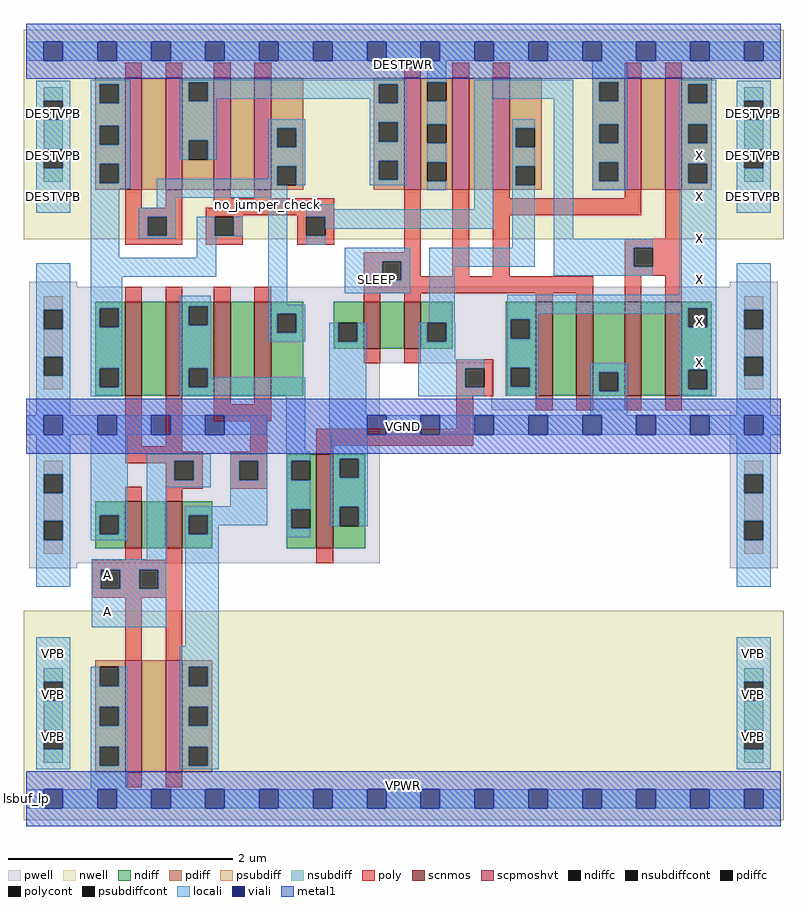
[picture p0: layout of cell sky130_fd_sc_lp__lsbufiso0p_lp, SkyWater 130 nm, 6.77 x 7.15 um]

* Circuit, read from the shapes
.subckt sky130_fd_sc_lp__lsbufiso0p_lp A DESTPWR DESTVPB SLEEP VGND VPB VPWR X
XM1 n1 A VGND VGND sky130_fd_pr__nfet_01v8 w=0.42 l=0.15
XM2 n2 A n3 VGND sky130_fd_pr__nfet_01v8 w=0.84 l=0.15
XM3 n4 A n1 VGND sky130_fd_pr__nfet_01v8 w=0.42 l=0.15
XM4 n5 A n2 VGND sky130_fd_pr__nfet_01v8 w=0.84 l=0.15
XM5 n6 n4 n5 VGND sky130_fd_pr__nfet_01v8 w=0.84 l=0.15
XM6 n7 n4 n6 VGND sky130_fd_pr__nfet_01v8 w=0.84 l=0.15
XM7 VGND n8 n5 VGND sky130_fd_pr__nfet_01v8 w=0.84 l=0.15
XM8 n9 SLEEP VGND VGND sky130_fd_pr__nfet_01v8 w=0.42 l=0.15
XM9 n8 SLEEP n9 VGND sky130_fd_pr__nfet_01v8 w=0.42 l=0.15
XM10 n10 SLEEP X VGND sky130_fd_pr__nfet_01v8 w=0.84 l=0.15
XM11 VGND SLEEP n10 VGND sky130_fd_pr__nfet_01v8 w=0.84 l=0.15
XM12 n11 n3 VGND VGND sky130_fd_pr__nfet_01v8 w=0.84 l=0.15
XM13 X n3 n11 VGND sky130_fd_pr__nfet_01v8 w=0.84 l=0.15
XM14 n12 A VPWR VPB sky130_fd_pr__pfet_01v8_hvt w=1 l=0.15
XM15 n13 n7 n3 DESTVPB sky130_fd_pr__pfet_01v8_hvt w=1 l=0.15
XM16 n4 A n12 VPB sky130_fd_pr__pfet_01v8_hvt w=1 l=0.15
XM17 n14 n7 n13 DESTVPB sky130_fd_pr__pfet_01v8_hvt w=1 l=0.15
XM18 n15 n3 n14 DESTVPB sky130_fd_pr__pfet_01v8_hvt w=1 l=0.15
XM19 n7 n3 n15 DESTVPB sky130_fd_pr__pfet_01v8_hvt w=1 l=0.15
XM20 DESTPWR SLEEP n14 DESTVPB sky130_fd_pr__pfet_01v8_hvt w=1 l=0.15
XM21 n16 SLEEP DESTPWR DESTVPB sky130_fd_pr__pfet_01v8_hvt w=1 l=0.15
XM22 n8 SLEEP n16 DESTVPB sky130_fd_pr__pfet_01v8_hvt w=1 l=0.15
XM23 n17 SLEEP DESTPWR DESTVPB sky130_fd_pr__pfet_01v8_hvt w=1 l=0.15
XM24 X n3 n17 DESTVPB sky130_fd_pr__pfet_01v8_hvt w=1 l=0.15
.ends

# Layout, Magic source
magic
tech sky130A
magscale 1 2
<< nwell >>
rect -5 997 1349 1370
rect -5 -38 1349 335
<< pwell >>
rect 5 912 91 921
rect 1253 912 1339 921
rect 5 776 1339 912
rect 5 420 630 776
rect 828 692 1339 776
rect 5 411 91 420
rect 1253 411 1339 692
<< scnmos >>
rect 176 718 206 886
rect 248 718 278 886
rect 334 718 364 886
rect 406 718 436 886
rect 601 802 631 886
rect 673 802 703 886
rect 908 718 938 886
rect 980 718 1010 886
rect 1066 718 1096 886
rect 1138 718 1168 886
rect 176 446 206 530
rect 248 446 278 530
rect 517 446 547 614
<< scpmoshvt >>
rect 176 1085 206 1285
rect 248 1085 278 1285
rect 334 1085 364 1285
rect 406 1085 436 1285
rect 673 1085 703 1285
rect 759 1085 789 1285
rect 831 1085 861 1285
rect 1066 1085 1096 1285
rect 1138 1085 1168 1285
rect 176 47 206 247
rect 248 47 278 247
<< ndiff >>
rect 123 874 176 886
rect 123 840 131 874
rect 165 840 176 874
rect 123 767 176 840
rect 123 733 131 767
rect 165 733 176 767
rect 123 718 176 733
rect 206 718 248 886
rect 278 878 334 886
rect 278 844 289 878
rect 323 844 334 878
rect 278 767 334 844
rect 278 733 289 767
rect 323 733 334 767
rect 278 718 334 733
rect 364 718 406 886
rect 436 864 493 886
rect 436 830 447 864
rect 481 830 493 864
rect 436 718 493 830
rect 548 848 601 886
rect 548 814 556 848
rect 590 814 601 848
rect 548 802 601 814
rect 631 802 673 886
rect 703 848 760 886
rect 703 814 714 848
rect 748 814 760 848
rect 703 802 760 814
rect 854 854 908 886
rect 854 820 863 854
rect 897 820 908 854
rect 854 768 908 820
rect 854 734 863 768
rect 897 734 908 768
rect 854 718 908 734
rect 938 718 980 886
rect 1010 760 1066 886
rect 1010 726 1021 760
rect 1055 726 1066 760
rect 1010 718 1066 726
rect 1096 718 1138 886
rect 1168 874 1221 886
rect 1168 840 1179 874
rect 1213 840 1221 874
rect 1168 764 1221 840
rect 1168 730 1179 764
rect 1213 730 1221 764
rect 1168 718 1221 730
rect 464 602 517 614
rect 464 568 472 602
rect 506 568 517 602
rect 123 505 176 530
rect 123 471 131 505
rect 165 471 176 505
rect 123 446 176 471
rect 206 446 248 530
rect 278 505 331 530
rect 278 471 289 505
rect 323 471 331 505
rect 278 446 331 471
rect 464 516 517 568
rect 464 482 472 516
rect 506 482 517 516
rect 464 446 517 482
rect 547 606 604 614
rect 547 572 558 606
rect 592 572 604 606
rect 547 520 604 572
rect 547 486 558 520
rect 592 486 604 520
rect 547 446 604 486
<< pdiff >>
rect 123 1273 176 1285
rect 123 1239 131 1273
rect 165 1239 176 1273
rect 123 1199 176 1239
rect 123 1165 131 1199
rect 165 1165 176 1199
rect 123 1131 176 1165
rect 123 1097 131 1131
rect 165 1097 176 1131
rect 123 1085 176 1097
rect 206 1085 248 1285
rect 278 1277 334 1285
rect 278 1243 289 1277
rect 323 1243 334 1277
rect 278 1173 334 1243
rect 278 1139 289 1173
rect 323 1139 334 1173
rect 278 1085 334 1139
rect 364 1085 406 1285
rect 436 1195 493 1285
rect 436 1161 447 1195
rect 481 1161 493 1195
rect 436 1127 493 1161
rect 436 1093 447 1127
rect 481 1093 493 1127
rect 436 1085 493 1093
rect 619 1273 673 1285
rect 619 1239 628 1273
rect 662 1239 673 1273
rect 619 1205 673 1239
rect 619 1171 628 1205
rect 662 1171 673 1205
rect 619 1137 673 1171
rect 619 1103 628 1137
rect 662 1103 673 1137
rect 619 1085 673 1103
rect 703 1277 759 1285
rect 703 1243 714 1277
rect 748 1243 759 1277
rect 703 1202 759 1243
rect 703 1168 714 1202
rect 748 1168 759 1202
rect 703 1134 759 1168
rect 703 1100 714 1134
rect 748 1100 759 1134
rect 703 1085 759 1100
rect 789 1085 831 1285
rect 861 1195 918 1285
rect 861 1161 872 1195
rect 906 1161 918 1195
rect 861 1127 918 1161
rect 861 1093 872 1127
rect 906 1093 918 1127
rect 861 1085 918 1093
rect 1009 1277 1066 1285
rect 1009 1243 1021 1277
rect 1055 1243 1066 1277
rect 1009 1202 1066 1243
rect 1009 1168 1021 1202
rect 1055 1168 1066 1202
rect 1009 1134 1066 1168
rect 1009 1100 1021 1134
rect 1055 1100 1066 1134
rect 1009 1085 1066 1100
rect 1096 1085 1138 1285
rect 1168 1273 1221 1285
rect 1168 1239 1179 1273
rect 1213 1239 1221 1273
rect 1168 1202 1221 1239
rect 1168 1168 1179 1202
rect 1213 1168 1221 1202
rect 1168 1131 1221 1168
rect 1168 1097 1179 1131
rect 1213 1097 1221 1131
rect 1168 1085 1221 1097
rect 123 235 176 247
rect 123 201 131 235
rect 165 201 176 235
rect 123 164 176 201
rect 123 130 131 164
rect 165 130 176 164
rect 123 93 176 130
rect 123 59 131 93
rect 165 59 176 93
rect 123 47 176 59
rect 206 47 248 247
rect 278 235 331 247
rect 278 201 289 235
rect 323 201 331 235
rect 278 164 331 201
rect 278 130 289 164
rect 323 130 331 164
rect 278 93 331 130
rect 278 59 289 93
rect 323 59 331 93
rect 278 47 331 59
<< ndiffc >>
rect 131 840 165 874
rect 131 733 165 767
rect 289 844 323 878
rect 289 733 323 767
rect 447 830 481 864
rect 556 814 590 848
rect 714 814 748 848
rect 863 820 897 854
rect 863 734 897 768
rect 1021 726 1055 760
rect 1179 840 1213 874
rect 1179 730 1213 764
rect 472 568 506 602
rect 131 471 165 505
rect 289 471 323 505
rect 472 482 506 516
rect 558 572 592 606
rect 558 486 592 520
<< pdiffc >>
rect 131 1239 165 1273
rect 131 1165 165 1199
rect 131 1097 165 1131
rect 289 1243 323 1277
rect 289 1139 323 1173
rect 447 1161 481 1195
rect 447 1093 481 1127
rect 628 1239 662 1273
rect 628 1171 662 1205
rect 628 1103 662 1137
rect 714 1243 748 1277
rect 714 1168 748 1202
rect 714 1100 748 1134
rect 872 1161 906 1195
rect 872 1093 906 1127
rect 1021 1243 1055 1277
rect 1021 1168 1055 1202
rect 1021 1100 1055 1134
rect 1179 1239 1213 1273
rect 1179 1168 1213 1202
rect 1179 1097 1213 1131
rect 131 201 165 235
rect 131 130 165 164
rect 131 59 165 93
rect 289 201 323 235
rect 289 130 323 164
rect 289 59 323 93
<< psubdiff >>
rect 31 871 65 895
rect 31 788 65 837
rect 31 730 65 754
rect 1279 871 1313 895
rect 1279 788 1313 837
rect 1279 730 1313 754
rect 31 578 65 602
rect 31 495 65 544
rect 31 437 65 461
rect 1279 578 1313 602
rect 1279 495 1313 544
rect 1279 437 1313 461
<< nsubdiff >>
rect 31 1244 65 1268
rect 31 1157 65 1210
rect 31 1099 65 1123
rect 1279 1244 1313 1268
rect 1279 1157 1313 1210
rect 1279 1099 1313 1123
rect 31 209 65 233
rect 31 122 65 175
rect 31 64 65 88
rect 1279 209 1313 233
rect 1279 122 1313 175
rect 1279 64 1313 88
<< psubdiffcont >>
rect 31 837 65 871
rect 31 754 65 788
rect 1279 837 1313 871
rect 1279 754 1313 788
rect 31 544 65 578
rect 31 461 65 495
rect 1279 544 1313 578
rect 1279 461 1313 495
<< nsubdiffcont >>
rect 31 1210 65 1244
rect 31 1123 65 1157
rect 1279 1210 1313 1244
rect 1279 1123 1313 1157
rect 31 175 65 209
rect 31 88 65 122
rect 1279 175 1313 209
rect 1279 88 1313 122
<< poly >>
rect 176 1285 206 1311
rect 248 1285 278 1311
rect 334 1285 364 1311
rect 406 1285 436 1311
rect 673 1285 703 1311
rect 759 1285 789 1311
rect 831 1285 861 1311
rect 1066 1285 1096 1311
rect 1138 1285 1168 1311
rect 176 1053 206 1085
rect 248 1053 278 1085
rect 334 1070 364 1085
rect 406 1070 436 1085
rect 334 1053 549 1070
rect 176 1037 278 1053
rect 176 1003 216 1037
rect 250 1003 278 1037
rect 176 987 278 1003
rect 320 1040 549 1053
rect 320 1037 386 1040
rect 320 1003 336 1037
rect 370 1003 386 1037
rect 320 987 386 1003
rect 483 1037 549 1040
rect 483 1003 499 1037
rect 533 1003 549 1037
rect 483 987 549 1003
rect 673 974 703 1085
rect 601 958 703 974
rect 601 924 634 958
rect 668 931 703 958
rect 759 931 789 1085
rect 831 1070 861 1085
rect 1066 1070 1096 1085
rect 831 1040 1096 1070
rect 831 931 861 1040
rect 1138 998 1168 1085
rect 1066 982 1168 998
rect 1066 948 1082 982
rect 1116 948 1168 982
rect 1066 932 1168 948
rect 668 924 1010 931
rect 176 886 206 912
rect 248 886 278 912
rect 334 886 364 912
rect 406 886 436 912
rect 601 901 1010 924
rect 601 886 631 901
rect 673 886 703 901
rect 908 886 938 901
rect 980 886 1010 901
rect 1066 886 1096 932
rect 1138 886 1168 932
rect 601 776 631 802
rect 673 776 703 802
rect 766 767 832 783
rect 766 733 782 767
rect 816 733 832 767
rect 176 628 206 718
rect 248 628 278 718
rect 334 703 364 718
rect 406 703 436 718
rect 334 673 436 703
rect 766 717 832 733
rect 176 618 278 628
rect 399 618 429 673
rect 766 659 796 717
rect 908 692 938 718
rect 980 692 1010 718
rect 1066 692 1096 718
rect 1138 692 1168 718
rect 176 602 314 618
rect 176 598 264 602
rect 248 568 264 598
rect 298 568 314 602
rect 176 530 206 556
rect 248 552 314 568
rect 363 602 429 618
rect 517 629 796 659
rect 517 614 547 629
rect 363 568 379 602
rect 413 568 429 602
rect 363 552 429 568
rect 248 530 278 552
rect 176 426 206 446
rect 248 426 278 446
rect 117 408 278 426
rect 517 420 547 446
rect 117 374 133 408
rect 167 374 201 408
rect 235 374 278 408
rect 117 358 278 374
rect 176 247 206 358
rect 248 247 278 358
rect 176 21 206 47
rect 248 21 278 47
<< polycont >>
rect 216 1003 250 1037
rect 336 1003 370 1037
rect 499 1003 533 1037
rect 634 924 668 958
rect 1082 948 1116 982
rect 782 733 816 767
rect 264 568 298 602
rect 379 568 413 602
rect 133 374 167 408
rect 201 374 235 408
<< locali >>
rect 0 1315 31 1349
rect 65 1315 127 1349
rect 161 1315 223 1349
rect 257 1315 319 1349
rect 353 1315 415 1349
rect 449 1315 511 1349
rect 545 1315 607 1349
rect 641 1315 703 1349
rect 737 1315 799 1349
rect 833 1315 895 1349
rect 929 1315 991 1349
rect 1025 1315 1087 1349
rect 1121 1315 1183 1349
rect 1217 1315 1279 1349
rect 1313 1315 1344 1349
rect 18 1244 78 1279
rect 18 1210 31 1244
rect 65 1210 78 1244
rect 18 1157 78 1210
rect 18 1123 31 1157
rect 65 1123 78 1157
rect 18 1044 78 1123
rect 115 1273 185 1281
rect 115 1239 131 1273
rect 165 1239 185 1273
rect 115 1199 185 1239
rect 115 1165 131 1199
rect 165 1165 185 1199
rect 115 1131 185 1165
rect 273 1277 678 1281
rect 273 1243 289 1277
rect 323 1273 678 1277
rect 323 1247 628 1273
rect 323 1243 339 1247
rect 273 1173 339 1243
rect 612 1239 628 1247
rect 662 1239 678 1273
rect 273 1139 289 1173
rect 323 1139 339 1173
rect 431 1195 497 1211
rect 431 1161 447 1195
rect 481 1161 497 1195
rect 115 1097 131 1131
rect 165 1097 185 1131
rect 431 1127 497 1161
rect 431 1105 447 1127
rect 115 1087 185 1097
rect 232 1093 447 1105
rect 481 1093 497 1127
rect 612 1205 678 1239
rect 612 1171 628 1205
rect 662 1171 678 1205
rect 612 1137 678 1171
rect 612 1103 628 1137
rect 662 1103 678 1137
rect 612 1093 678 1103
rect 714 1277 748 1315
rect 714 1202 748 1243
rect 714 1134 748 1168
rect 115 964 166 1087
rect 232 1071 465 1093
rect 714 1084 748 1100
rect 798 1247 974 1281
rect 232 1053 266 1071
rect 200 1037 266 1053
rect 200 1003 216 1037
rect 250 1003 266 1037
rect 200 998 266 1003
rect 304 1003 336 1037
rect 370 1003 386 1037
rect 304 1002 386 1003
rect 304 964 338 1002
rect 18 871 78 954
rect 18 837 31 871
rect 65 837 78 871
rect 18 788 78 837
rect 18 754 31 788
rect 65 754 78 788
rect 18 683 78 754
rect 115 930 338 964
rect 115 874 171 930
rect 115 840 131 874
rect 165 840 171 874
rect 115 767 171 840
rect 115 733 131 767
rect 165 733 171 767
rect 115 717 171 733
rect 273 878 329 896
rect 273 844 289 878
rect 323 844 329 878
rect 273 767 329 844
rect 431 880 465 1071
rect 499 1050 549 1059
rect 798 1050 832 1247
rect 499 1037 832 1050
rect 533 1016 832 1037
rect 866 1195 906 1211
rect 866 1161 872 1195
rect 866 1127 906 1161
rect 866 1093 872 1127
rect 499 987 533 1003
rect 866 982 906 1093
rect 567 958 684 982
rect 567 924 634 958
rect 668 924 684 958
rect 567 901 684 924
rect 718 948 906 982
rect 940 998 974 1247
rect 1008 1277 1071 1315
rect 1008 1243 1021 1277
rect 1055 1243 1071 1277
rect 1008 1202 1071 1243
rect 1008 1168 1021 1202
rect 1055 1168 1071 1202
rect 1008 1134 1071 1168
rect 1008 1100 1021 1134
rect 1055 1100 1071 1134
rect 1008 1084 1071 1100
rect 1163 1273 1229 1281
rect 1163 1239 1179 1273
rect 1213 1239 1229 1273
rect 1163 1202 1229 1239
rect 1163 1168 1179 1202
rect 1213 1168 1229 1202
rect 1163 1131 1229 1168
rect 1163 1097 1179 1131
rect 1213 1097 1229 1131
rect 940 982 1116 998
rect 940 948 1082 982
rect 431 864 497 880
rect 431 830 447 864
rect 481 830 497 864
rect 718 848 763 948
rect 940 932 1116 948
rect 1163 898 1229 1097
rect 1266 1244 1326 1279
rect 1266 1210 1279 1244
rect 1313 1210 1326 1244
rect 1266 1157 1326 1210
rect 1266 1123 1279 1157
rect 1313 1123 1326 1157
rect 1266 1044 1326 1123
rect 857 874 1229 898
rect 857 864 1179 874
rect 857 854 913 864
rect 431 814 497 830
rect 540 814 556 848
rect 590 814 606 848
rect 273 733 289 767
rect 323 751 329 767
rect 323 733 497 751
rect 273 717 497 733
rect 0 649 31 683
rect 65 649 127 683
rect 161 649 223 683
rect 257 649 319 683
rect 353 649 429 683
rect 18 578 78 649
rect 18 544 31 578
rect 65 544 78 578
rect 18 495 78 544
rect 18 461 31 495
rect 65 461 78 495
rect 115 505 181 649
rect 463 618 497 717
rect 540 683 606 814
rect 698 814 714 848
rect 748 814 764 848
rect 698 783 764 814
rect 857 820 863 854
rect 897 820 913 854
rect 698 767 816 783
rect 698 733 782 767
rect 698 717 816 733
rect 857 768 913 820
rect 1163 840 1179 864
rect 1213 840 1229 874
rect 857 734 863 768
rect 897 734 913 768
rect 857 718 913 734
rect 1005 760 1071 776
rect 1005 726 1021 760
rect 1055 726 1071 760
rect 1005 683 1071 726
rect 1163 764 1229 840
rect 1163 730 1179 764
rect 1213 730 1229 764
rect 1163 717 1229 730
rect 1266 871 1326 954
rect 1266 837 1279 871
rect 1313 837 1326 871
rect 1266 788 1326 837
rect 1266 754 1279 788
rect 1313 754 1326 788
rect 1266 683 1326 754
rect 540 649 607 683
rect 641 649 703 683
rect 737 649 799 683
rect 833 649 895 683
rect 929 649 991 683
rect 1025 649 1087 683
rect 1121 649 1183 683
rect 1217 649 1279 683
rect 1313 649 1344 683
rect 115 471 131 505
rect 165 471 181 505
rect 115 461 181 471
rect 215 602 329 615
rect 215 568 264 602
rect 298 568 329 602
rect 215 555 329 568
rect 363 602 429 615
rect 363 568 379 602
rect 413 568 429 602
rect 18 378 78 461
rect 215 427 249 555
rect 363 521 429 568
rect 117 408 249 427
rect 117 374 133 408
rect 167 374 201 408
rect 235 374 249 408
rect 117 306 249 374
rect 283 505 429 521
rect 283 471 289 505
rect 323 487 429 505
rect 463 602 506 618
rect 463 568 472 602
rect 463 516 506 568
rect 323 471 343 487
rect 18 209 78 288
rect 283 272 343 471
rect 463 482 472 516
rect 542 606 608 649
rect 542 572 558 606
rect 592 572 608 606
rect 542 520 608 572
rect 542 486 558 520
rect 592 486 608 520
rect 1266 578 1326 649
rect 1266 544 1279 578
rect 1313 544 1326 578
rect 1266 495 1326 544
rect 463 466 506 482
rect 1266 461 1279 495
rect 1313 461 1326 495
rect 1266 378 1326 461
rect 273 235 343 272
rect 18 175 31 209
rect 65 175 78 209
rect 18 122 78 175
rect 18 88 31 122
rect 65 88 78 122
rect 18 53 78 88
rect 115 201 131 235
rect 165 201 181 235
rect 115 164 181 201
rect 115 130 131 164
rect 165 130 181 164
rect 115 93 181 130
rect 115 59 131 93
rect 165 59 181 93
rect 115 17 181 59
rect 273 201 289 235
rect 323 201 343 235
rect 273 164 343 201
rect 273 130 289 164
rect 323 130 343 164
rect 273 93 343 130
rect 273 59 289 93
rect 323 59 343 93
rect 273 53 343 59
rect 1266 209 1326 288
rect 1266 175 1279 209
rect 1313 175 1326 209
rect 1266 122 1326 175
rect 1266 88 1279 122
rect 1313 88 1326 122
rect 1266 53 1326 88
rect 0 -17 31 17
rect 65 -17 127 17
rect 161 -17 223 17
rect 257 -17 319 17
rect 353 -17 415 17
rect 449 -17 511 17
rect 545 -17 607 17
rect 641 -17 703 17
rect 737 -17 799 17
rect 833 -17 895 17
rect 929 -17 991 17
rect 1025 -17 1087 17
rect 1121 -17 1183 17
rect 1217 -17 1279 17
rect 1313 -17 1344 17
<< viali >>
rect 31 1315 65 1349
rect 127 1315 161 1349
rect 223 1315 257 1349
rect 319 1315 353 1349
rect 415 1315 449 1349
rect 511 1315 545 1349
rect 607 1315 641 1349
rect 703 1315 737 1349
rect 799 1315 833 1349
rect 895 1315 929 1349
rect 991 1315 1025 1349
rect 1087 1315 1121 1349
rect 1183 1315 1217 1349
rect 1279 1315 1313 1349
rect 31 649 65 683
rect 127 649 161 683
rect 223 649 257 683
rect 319 649 353 683
rect 607 649 641 683
rect 703 649 737 683
rect 799 649 833 683
rect 895 649 929 683
rect 991 649 1025 683
rect 1087 649 1121 683
rect 1183 649 1217 683
rect 1279 649 1313 683
rect 31 -17 65 17
rect 127 -17 161 17
rect 223 -17 257 17
rect 319 -17 353 17
rect 415 -17 449 17
rect 511 -17 545 17
rect 607 -17 641 17
rect 703 -17 737 17
rect 799 -17 833 17
rect 895 -17 929 17
rect 991 -17 1025 17
rect 1087 -17 1121 17
rect 1183 -17 1217 17
rect 1279 -17 1313 17
<< metal1 >>
rect 0 1349 1344 1381
rect 0 1315 31 1349
rect 65 1315 127 1349
rect 161 1315 223 1349
rect 257 1315 319 1349
rect 353 1315 415 1349
rect 449 1315 511 1349
rect 545 1315 607 1349
rect 641 1315 703 1349
rect 737 1315 799 1349
rect 833 1315 895 1349
rect 929 1315 991 1349
rect 1025 1315 1087 1349
rect 1121 1315 1183 1349
rect 1217 1315 1279 1349
rect 1313 1315 1344 1349
rect 0 1283 1344 1315
rect 0 683 1344 713
rect 0 649 31 683
rect 65 649 127 683
rect 161 649 223 683
rect 257 649 319 683
rect 353 649 607 683
rect 641 649 703 683
rect 737 649 799 683
rect 833 649 895 683
rect 929 649 991 683
rect 1025 649 1087 683
rect 1121 649 1183 683
rect 1217 649 1279 683
rect 1313 649 1344 683
rect 0 615 1344 649
rect 0 17 1344 49
rect 0 -17 31 17
rect 65 -17 127 17
rect 161 -17 223 17
rect 257 -17 319 17
rect 353 -17 415 17
rect 449 -17 511 17
rect 545 -17 607 17
rect 641 -17 703 17
rect 737 -17 799 17
rect 833 -17 895 17
rect 929 -17 991 17
rect 1025 -17 1087 17
rect 1121 -17 1183 17
rect 1217 -17 1279 17
rect 1313 -17 1344 17
rect 0 -49 1344 -17
<< labels >>
flabel locali s 1183 760 1217 794 0 FreeSans 200 0 0 0 X
port 8 nsew signal output
flabel locali s 1183 834 1217 868 0 FreeSans 200 0 0 0 X
port 8 nsew signal output
flabel locali s 1183 1130 1217 1164 0 FreeSans 200 0 0 0 X
port 8 nsew signal output
flabel locali s 1183 1056 1217 1090 0 FreeSans 200 0 0 0 X
port 8 nsew signal output
flabel locali s 1183 982 1217 1016 0 FreeSans 200 0 0 0 X
port 8 nsew signal output
flabel locali s 128 383 162 417 0 FreeSans 200 0 0 0 A
port 1 nsew signal input
flabel locali s 1183 908 1217 942 0 FreeSans 200 0 0 0 X
port 8 nsew signal output
flabel locali s 128 316 162 350 0 FreeSans 200 0 0 0 A
port 1 nsew signal input
flabel locali s 607 908 641 942 0 FreeSans 200 0 0 0 SLEEP
port 4 nsew signal input
flabel locali s 31 242 65 276 0 FreeSans 340 0 0 0 VPB
port 6 nsew power bidirectional
flabel locali s 31 94 65 128 0 FreeSans 340 0 0 0 VPB
port 6 nsew power bidirectional
flabel locali s 31 168 65 202 0 FreeSans 340 0 0 0 VPB
port 6 nsew power bidirectional
flabel locali s 31 1204 65 1238 0 FreeSans 150 0 0 0 DESTVPB
port 3 nsew power bidirectional
flabel locali s 31 1130 65 1164 0 FreeSans 150 0 0 0 DESTVPB
port 3 nsew power bidirectional
flabel locali s 1279 94 1313 128 0 FreeSans 340 0 0 0 VPB
port 6 nsew power bidirectional
flabel locali s 1279 168 1313 202 0 FreeSans 340 0 0 0 VPB
port 6 nsew power bidirectional
flabel locali s 1279 1204 1313 1238 0 FreeSans 150 0 0 0 DESTVPB
port 3 nsew power bidirectional
flabel locali s 1279 1130 1313 1164 0 FreeSans 150 0 0 0 DESTVPB
port 3 nsew power bidirectional
flabel locali s 1279 1056 1313 1090 0 FreeSans 150 0 0 0 DESTVPB
port 3 nsew power bidirectional
flabel locali s 1279 242 1313 276 0 FreeSans 340 0 0 0 VPB
port 6 nsew power bidirectional
flabel locali s 31 1056 65 1090 0 FreeSans 150 0 0 0 DESTVPB
port 3 nsew power bidirectional
rlabel comment s 0 0 0 0 4 lsbuf_lp
flabel comment s 429 1058 429 1058 0 FreeSans 200 0 0 0 no_jumper_check
flabel metal1 s 0 0 1344 49 0 FreeSans 200 0 0 0 VPWR
port 7 nsew power bidirectional
flabel metal1 s 0 1283 1344 1332 0 FreeSans 200 0 0 0 DESTPWR
port 2 nsew power bidirectional
flabel metal1 s 0 615 1344 713 0 FreeSans 200 0 0 0 VGND
port 5 nsew ground bidirectional
<< properties >>
string LEFsite unit
string LEFclass CORE
string FIXED_BBOX 0 0 1344 1332
string GDS_FILE $PDKPATH/libs.ref/sky130_fd_sc_lp/gds/sky130_fd_sc_lp.gds
string LEFsymmetry X Y R90
string GDS_END 4937358
string GDS_START 4920934
<< end >>
